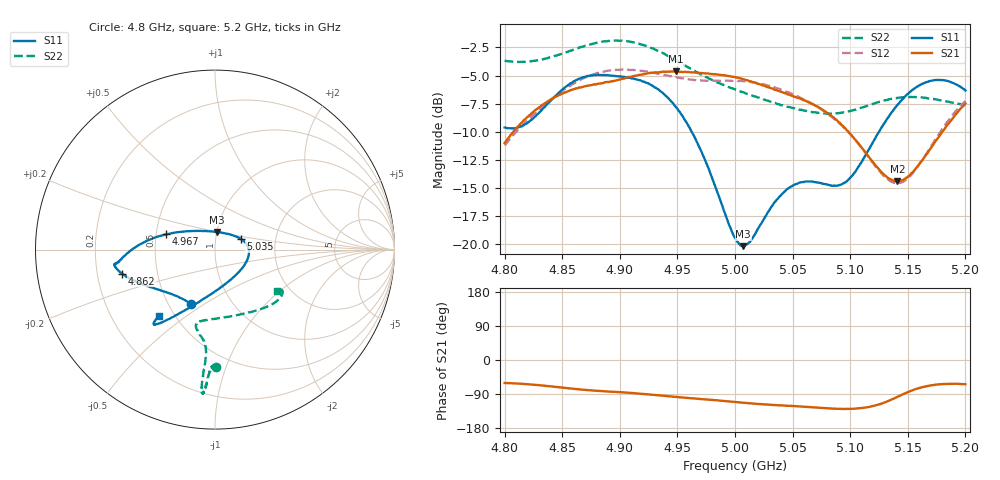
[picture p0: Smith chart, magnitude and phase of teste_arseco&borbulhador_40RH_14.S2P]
! Network Analyzer HP8722D
! Hewlett-Packard
! Data name: Linha & Wilkinson
! Saver's name: Rodrigo Anjos
! Comments: Teste da utilização de aquisição
! continua pelo VNA HP8722D
! Time and date: 15/4/2025 16:28
!  Frequency  S11  S21  S12  S22
# HZ  S  MA R 50
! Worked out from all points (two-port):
!   401 points, 4.8 GHz to 5.2 GHz, reference 50 ohm
!   highest |S21| = -4.63 dB at 4.949 GHz (marker M1); lowest = -14.4 dB at 5.141 GHz (marker M2)
!   |S21| within 3 dB of the highest: 4.832 GHz to 5.069 GHz (236.8 MHz wide, 4.78 % of centre); 5.198591 GHz to end of sweep
!   lowest |S11| = -20.2 dB at 5.007 GHz (marker M3), VSWR 1.22, Z = 50.1 + j9.88 ohm
!   |S11| at or under -10 dB: 4.962 GHz to 5.125 GHz (162.6 MHz wide, 3.22 % of centre)
!   |S22| runs from -8.4 to -1.9 dB; largest |S21 - S12| = 0.88
!   S11 on the Smith chart (normalised r, x): 4.8 GHz: 0.65, -0.44; 4.862 GHz: 0.31, -0.11; 4.967 GHz: 0.57, +0.11; 5.035 GHz: 1.32, +0.16; 5.2 GHz: 0.41, -0.40
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4.8e9  0.3307 -113.7  0.2821 -60.7  0.2749 -175.1  0.6545 -89.4
4.819e9  0.3442 -133.5  0.3648 -63.8  0.3528 -173.4  0.6487 -91.1
4.862e9  0.5363 -165.6  0.4934 -76.6  0.5269 -176.3  0.7403 -93.5
4.867e9  0.549 -167.5  0.4998 -78.1  0.5415 -177.4  0.755 -93.6
4.9e9  0.5578 -172.1  0.5396 -84.9  0.595 175.9  0.8022 -95.0
4.934e9  0.4855 -177.9  0.5812 -93.2  0.5739 172.1  0.7206 -95.6
4.949e9  0.4055 175.0  0.5865 -97.2  0.5524 172.2  0.6569 -95.2
4.967e9  0.2848 162.6  0.5794 -102.1  0.5353 174.0  0.5808 -94.8
5e9  0.1072 107.4  0.5531 -111.0  0.5331 176.5  0.4882 -99.4
5.007e9  0.09824 83.6  0.5414 -112.6  0.5303 176.5  0.4742 -100.9
5.014e9  0.1045 61.6  0.5302 -114.6  0.526 176.3  0.4606 -102.5
5.035e9  0.155 23.0  0.4857 -118.8  0.4973 175.2  0.4253 -103.8
5.05e9  0.1819 7.1  0.4569 -121.7  0.4648 174.5  0.4036 -100.4
5.067e9  0.1903 -11.2  0.42 -124.7  0.4219 174.0  0.3867 -91.9
5.087e9  0.1821 -43.5  0.3597 -128.5  0.3575 173.8  0.3819 -77.0
5.097e9  0.1907 -64.7  0.3215 -129.0  0.3214 174.5  0.3883 -68.6
5.134e9  0.3736 -116.0  0.196 -107.1  0.1922 -159.9  0.4415 -43.4
5.141e9  0.4165 -120.0  0.1906 -97.2  0.1873 -148.9  0.4477 -40.2
5.152e9  0.4757 -124.5  0.204 -82.2  0.2009 -131.5  0.4514 -36.2
5.17e9  0.5326 -128.5  0.2675 -67.0  0.2719 -113.0  0.4443 -32.0
5.184e9  0.5324 -129.8  0.3385 -63.1  0.3486 -107.2  0.4313 -31.1
5.2e9  0.483 -130.3  0.4226 -64.0  0.4341 -106.0  0.4151 -33.4
